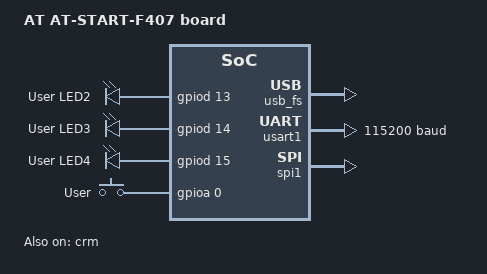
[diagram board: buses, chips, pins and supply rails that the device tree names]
/*
 * Copyright (c) 2025 Maxjta
 *
 * SPDX-License-Identifier: Apache-2.0
 */

/dts-v1/;
#include <at/at32f403a_407/at32f407vgt7.dtsi>
#include "at_start_f407-pinctrl.dtsi"
#include <zephyr/dt-bindings/input/input-event-codes.h>

/ {
	model = "AT AT-START-F407 board";
	compatible = "at,at_start_f407";

	chosen {
		zephyr,console = &usart1;
		zephyr,shell-uart = &usart1;
		zephyr,sram = &sram0;
		zephyr,flash = &flash0;
	};

	leds: leds {
		compatible = "gpio-leds";
		red_led: led2 {
			gpios = <&gpiod 13 GPIO_ACTIVE_HIGH>;
			label = "User LED2";
		};
		yellow_led: led3 {
			gpios = <&gpiod 14 GPIO_ACTIVE_HIGH>;
			label = "User LED3";
		};
		green_led: led4 {
			gpios = <&gpiod 15 GPIO_ACTIVE_HIGH>;
			label = "User LED4";
		};
	};

	gpio_keys {
		compatible = "gpio-keys";
		user_button: button {
			label = "User";
			gpios = <&gpioa 0 GPIO_ACTIVE_HIGH>;
			zephyr,code = <INPUT_KEY_0>;
		};
	};

	aliases {
		led0 = &red_led;
		led1 = &yellow_led;
		led2 = &green_led;
		sw0 = &user_button;
	};
};

&gpioa {
    status = "okay";
};

&gpiob {
    status = "okay";
};

&gpioc {
    status = "okay";
};

&gpiod {
    status = "okay";
};

&gpioe {
    status = "okay";
};

&clk_hick {
	status = "okay";
};

&clk_hext {
	clock-frequency = <8000000>;
	status = "okay";
};

&pll {
	mul = <48>;
	div_fu = <6>;
	xtpre = <1>;
	clocks = <&clk_hext>;
	status = "okay";
};

&sysclk {
	clock-frequency = <DT_FREQ_M(192)>;
	status = "okay";
};

&crm {
	clocks = <&pll>;
	ahb-prescaler = <1>;
	clock-frequency = <192000000>;
	apb1-prescaler = <2>;
	apb2-prescaler = <2>;
	status = "okay";
};

&usb_fs {
    status = "okay";
};

zephyr_udc0: &usb_fs {
	status = "okay";
};

&usart1 {
	pinctrl-0 = <&usart1_default>;
	pinctrl-names = "default";
	current-speed = <115200>;
	status = "okay";
};

&spi1 {
	status = "okay";
	pinctrl-0 = <&spi1_default>;
	pinctrl-names = "default";
	cs-gpios = <&gpioa 4 GPIO_ACTIVE_LOW>;
	dmas = <&dma1 1 10 1 0>, <&dma1 2 11 2 0>;
	dma-names = "rx", "tx";
};

&dma1 {
	status = "okay";
};


